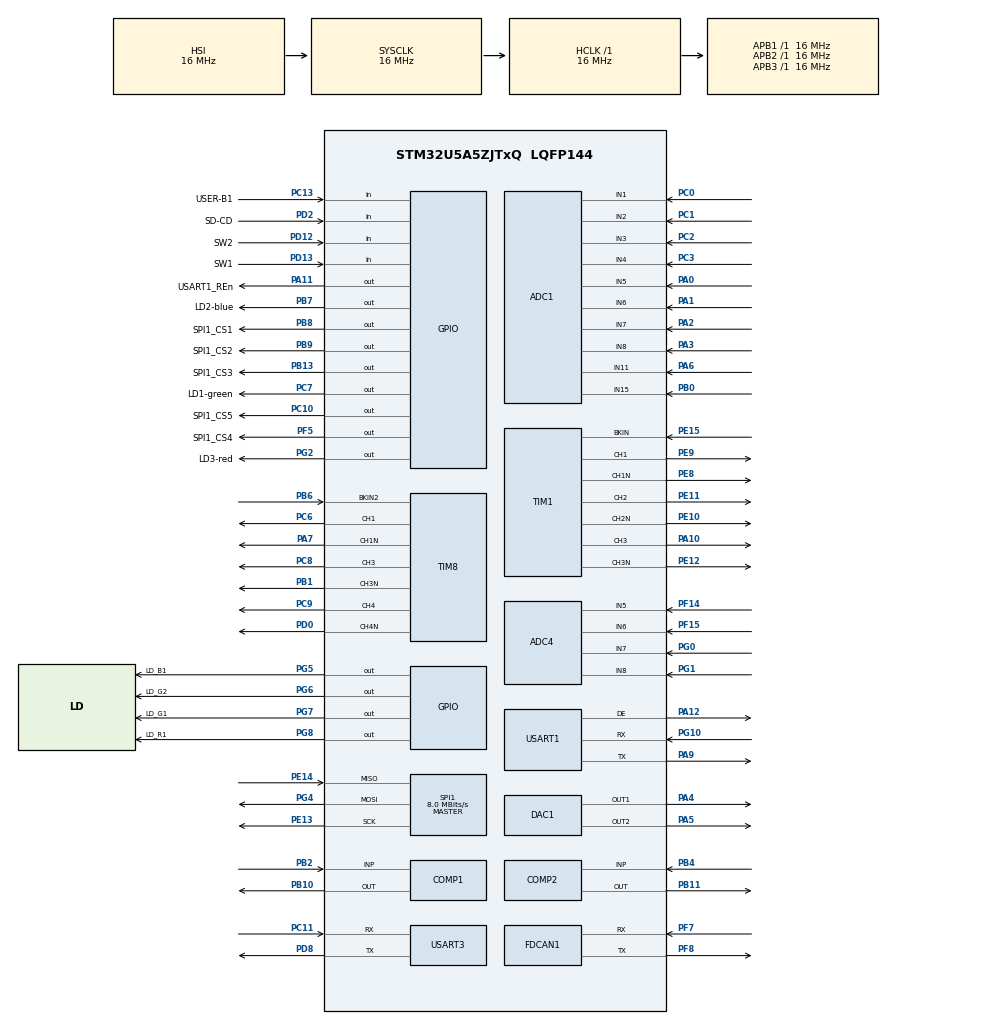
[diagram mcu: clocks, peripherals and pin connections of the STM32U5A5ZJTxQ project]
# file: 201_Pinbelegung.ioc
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ADC1.Channel-0\#ChannelRegularConversion=ADC_CHANNEL_1
ADC1.MonitoredBy-0\#ChannelRegularConversion=__NULL
ADC1.NbrOfConversionFlag=1
ADC1.OffsetNumber-0\#ChannelRegularConversion=ADC_OFFSET_NONE
ADC1.Rank-0\#ChannelRegularConversion=1
ADC1.SamplingTime-0\#ChannelRegularConversion=ADC_SAMPLETIME_5CYCLE
ADC1.master=1
ADC4.Channel-0\#ChannelRegularConversion=ADC_CHANNEL_5
ADC4.NbrOfConversionFlag=1
ADC4.OffsetNumber-0\#ChannelRegularConversion=ADC_OFFSET_NONE
ADC4.Rank-0\#ChannelRegularConversion=1
ADC4.RankArg-0\#ChannelRegularConversion=ADC4_REGULAR_RANK_1
ADC4.SamplingTime-0\#ChannelRegularConversion=ADC4_SAMPLINGTIME_COMMON_1
ADC4.SelectedChannel=ADC_CHANNEL_5|ADC_CHANNEL_6|ADC_CHANNEL_7|ADC_CHANNEL_8
CORTEX_M33_NS.AccessPermission-Cortex_Memory_Protection_Unit_Region0_Settings=MPU_REGION_PRIV_RO
CORTEX_M33_NS.AllocateAttribute0=MPU_R_ALLOCATE
CORTEX_M33_NS.AllocateAttribute1=MPU_RW_ALLOCATE
CORTEX_M33_NS.Attributes0=MPU_ATTRIBUTES_NUMBER0
CORTEX_M33_NS.Attributes1=MPU_ATTRIBUTES_NUMBER1
CORTEX_M33_NS.AttributesIndex-Cortex_Memory_Protection_Unit_Region1_Settings=MPU_ATTRIBUTES_NUMBER1
CORTEX_M33_NS.BaseAddress-Cortex_Memory_Protection_Unit_Region0_Settings=0x08000000
CORTEX_M33_NS.BaseAddress-Cortex_Memory_Protection_Unit_Region1_Settings=0x20000000
CORTEX_M33_NS.CacheableAttribute1=MPU_WRITE_BACK
CORTEX_M33_NS.Enable-Cortex_Memory_Protection_Unit_Region0_Settings=MPU_REGION_ENABLE
CORTEX_M33_NS.Enable-Cortex_Memory_Protection_Unit_Region1_Settings=MPU_REGION_ENABLE
CORTEX_M33_NS.LimitAddress-Cortex_Memory_Protection_Unit_Region0_Settings=0x083FFFFF
CORTEX_M33_NS.LimitAddress-Cortex_Memory_Protection_Unit_Region1_Settings=0x2026FFFF
CORTEX_M33_NS.MPU_Control=MPU_PRIVILEGED_DEFAULT
CORTEX_M33_NS.Memorytype0=MPU_CACHEABLE
CORTEX_M33_NS.Memorytype1=MPU_CACHEABLE
CORTEX_M33_NS.Number-Cortex_Memory_Protection_Unit_Region0_Settings=MPU_REGION_NUMBER0
CORTEX_M33_NS.Number-Cortex_Memory_Protection_Unit_Region1_Settings=MPU_REGION_NUMBER1
CORTEX_M33_NS.userName=CORTEX_M33
DAC1.DAC_Channel-DAC_OUT1_ExtAndInt=DAC_CHANNEL_1
DAC1.DAC_Channel-DAC_OUT2_ExtAndInt=DAC_CHANNEL_2
FDCAN1.CalculateBaudRateNominal=3333333
FDCAN1.CalculateTimeBitNominal=300
FDCAN1.CalculateTimeQuantumNominal=100.0
FLASH.B1_BLOCK_active=true
FLASH.B1_endPage=255
FLASH.B2_BLOCK_active=true
FLASH.B2_Bank=FLASH_BANK_2
FLASH.B2_endPage=255
FLASH.OB_Boot_Configuration_active_NS0=true
FLASH.OB_NSBOOTADD0_Address=0x08000000
GTZC.MPCBB1_Area_Privilege_Size=0x000C0000
GTZC.MPCBB1_SecConfig_array=00000000\:00000000\:00000000\:00000000\:00000000\:00000000\:00000000\:00000000\:00000000\:00000000\:00000000\:00000000\:00000000\:00000000\:00000000\:00000000\:00000000\:00000000\:00000000\:00000000\:00000000\:00000000\:00000000\:00000000\:00000000\:00000000\:00000000\:00000000\:00000000\:00000000\:00000000\:00000000\:00000000\:00000000\:00000000\:00000000\:00000000\:00000000\:00000000\:00000000\:00000000\:00000000\:00000000\:00000000\:00000000\:00000000\:00000000\:00000000
GTZC.MPCBB2_Area_Privilege_Size=0x00010000
GTZC.MPCBB2_PrivConfig_array=FFFFFFFF\:FFFFFFFF\:FFFFFFFF\:FFFFFFFF\:00000000\:00000000\:00000000\:00000000\:00000000\:00000000\:00000000\:00000000\:00000000\:00000000\:00000000\:00000000\:00000000\:00000000\:00000000\:00000000\:00000000\:00000000\:00000000\:00000000\:00000000\:00000000\:00000000\:00000000\:00000000\:00000000\:00000000\:00000000\:00000000\:00000000\:00000000\:00000000\:00000000\:00000000\:00000000\:00000000\:00000000\:00000000\:00000000\:00000000\:00000000\:00000000\:00000000\:00000000\:00000000\:00000000\:00000000\:00000000
GTZC.MPCBB2_SecConfig_array=00000000\:00000000\:00000000\:00000000\:00000000\:00000000\:00000000\:00000000\:00000000\:00000000\:00000000\:00000000\:00000000\:00000000\:00000000\:00000000\:00000000\:00000000\:00000000\:00000000\:00000000\:00000000\:00000000\:00000000\:00000000\:00000000\:00000000\:00000000\:00000000\:00000000\:00000000\:00000000\:00000000\:00000000\:00000000\:00000000\:00000000\:00000000\:00000000\:00000000\:00000000\:00000000\:00000000\:00000000\:00000000\:00000000\:00000000\:00000000\:00000000\:00000000\:00000000\:00000000
GTZC.MPCBB3_Area_Privilege_Size=0x000D0000
GTZC.MPCBB3_SecConfig_array=00000000\:00000000\:00000000\:00000000\:00000000\:00000000\:00000000\:00000000\:00000000\:00000000\:00000000\:00000000\:00000000\:00000000\:00000000\:00000000\:00000000\:00000000\:00000000\:00000000\:00000000\:00000000\:00000000\:00000000\:00000000\:00000000\:00000000\:00000000\:00000000\:00000000\:00000000\:00000000\:00000000\:00000000\:00000000\:00000000\:00000000\:00000000\:00000000\:00000000\:00000000\:00000000\:00000000\:00000000\:00000000\:00000000\:00000000\:00000000\:00000000\:00000000\:00000000\:00000000
GTZC.MPCBB4_PrivConfig_array=00000000
GTZC.MPCBB4_SecConfig_array=00000000
GTZC.MPCBB5_Area_Privilege_Size=0x000D0000
GTZC.MPCBB5_SecConfig_array=00000000\:00000000\:00000000\:00000000\:00000000\:00000000\:00000000\:00000000\:00000000\:00000000\:00000000\:00000000\:00000000\:00000000\:00000000\:00000000\:00000000\:00000000\:00000000\:00000000\:00000000\:00000000\:00000000\:00000000\:00000000\:00000000\:00000000\:00000000\:00000000\:00000000\:00000000\:00000000\:00000000\:00000000\:00000000\:00000000\:00000000\:00000000\:00000000\:00000000\:00000000\:00000000\:00000000\:00000000\:00000000\:00000000\:00000000\:00000000\:00000000\:00000000\:00000000\:00000000
Mcu.Family=STM32U5
Mcu.Name=STM32U5A5ZJTxQ
Mcu.Package=LQFP144
NVIC.PriorityGroup=NVIC_PRIORITYGROUP_4
PA0.Mode=IN5-Single-Ended
PA0.Signal=ADC1_IN5
PA1.Mode=IN6-Single-Ended
PA1.Signal=ADC1_IN6
PA10.Signal=S_TIM1_CH3
PA11.GPIO_Label=USART1_REn
PA11.Signal=GPIO_Output
PA12.Mode=Hardware Flow Control (RS485)
PA12.Signal=USART1_DE
PA13\ (JTMS/SWDIO).Mode=Trace_Asynchronous_SW
PA13\ (JTMS/SWDIO).Signal=DEBUG_JTMS-SWDIO
PA14\ (JTCK/SWCLK).Mode=Trace_Asynchronous_SW
PA14\ (JTCK/SWCLK).Signal=DEBUG_JTCK-SWCLK
PA2.Mode=IN7-Single-Ended
PA2.Signal=ADC1_IN7
PA3.Mode=IN8-Single-Ended
PA3.Signal=ADC1_IN8
PA4.Signal=COMP_DAC11_group
PA5.Signal=COMP_DAC12_group
PA6.Mode=IN11-Single-Ended
PA6.Signal=ADC1_IN11
PA7.Mode=PWM Generation1 CH1 CH1N
PA7.Signal=TIM8_CH1N
PA9.Mode=Asynchronous
PA9.Signal=USART1_TX
PB0.Mode=IN15-Single-Ended
PB0.Signal=ADC1_IN15
PB1.Mode=PWM Generation3 CH3 CH3N
PB1.Signal=TIM8_CH3N
PB10.Mode=ExternalOutput
PB10.Signal=COMP1_OUT
PB11.Mode=ExternalOutput
PB11.Signal=COMP2_OUT
PB13.GPIO_Label=SPI1_CS3
PB13.Signal=GPIO_Output
PB2.Mode=INP
PB2.Signal=COMP1_INP
PB3\ (JTDO/TRACESWO).Mode=Trace_Asynchronous_SW
PB3\ (JTDO/TRACESWO).Signal=DEBUG_JTDO-SWO
PB4\ (NJTRST).Mode=INP
PB4\ (NJTRST).Signal=COMP2_INP
PB6.Mode=Activate-Break-Input-2
PB6.Signal=TIM8_BKIN2
PB7.GPIO_Label=LD2-blue
PB7.Signal=GPIO_Output
PB8.GPIO_Label=SPI1_CS1
PB8.Signal=GPIO_Output
PB9.GPIO_Label=SPI1_CS2
PB9.Signal=GPIO_Output
PC0.Mode=IN1-Single-Ended
PC0.Signal=ADC1_IN1
PC1.Mode=IN2-Single-Ended
PC1.Signal=ADC1_IN2
PC10.GPIO_Label=SPI1_CS5
PC10.Signal=GPIO_Output
PC11.Mode=Asynchronous
PC11.Signal=USART3_RX
PC13.GPIO_Label=USER-B1
PC13.Signal=GPIO_Input
PC14-OSC32_IN\ (PC14).Mode=LSE-External-Oscillator
PC14-OSC32_IN\ (PC14).Signal=RCC_OSC32_IN
PC15-OSC32_OUT\ (PC15).Mode=LSE-External-Oscillator
PC15-OSC32_OUT\ (PC15).Signal=RCC_OSC32_OUT
PC2.Mode=IN3-Single-Ended
PC2.Signal=ADC1_IN3
PC3.Mode=IN4-Single-Ended
PC3.Signal=ADC1_IN4
PC6.Signal=S_TIM8_CH1
PC7.GPIO_Label=LD1-green
PC7.Signal=GPIO_Output
PC8.Signal=S_TIM8_CH3
PC9.Signal=S_TIM8_CH4
PD0.Mode=PWM Generation4 CH4 CH4N
PD0.Signal=TIM8_CH4N
PD12.GPIO_Label=SW2
PD12.Signal=GPIO_Input
PD13.GPIO_Label=SW1
PD13.Signal=GPIO_Input
PD2.GPIO_Label=SD-CD
PD2.Signal=GPIO_Input
PD8.Mode=Asynchronous
PD8.Signal=USART3_TX
PE10.Mode=PWM Generation2 CH2 CH2N
PE10.Signal=TIM1_CH2N
PE11.Signal=S_TIM1_CH2
PE12.Mode=PWM Generation3 CH3 CH3N
PE12.Signal=TIM1_CH3N
PE13.Mode=Full_Duplex_Master
PE13.Signal=SPI1_SCK
PE14.Mode=Full_Duplex_Master
PE14.Signal=SPI1_MISO
PE15.Mode=Activate-Break-Input
PE15.Signal=TIM1_BKIN
PE8.Mode=PWM Generation1 CH1 CH1N
PE8.Signal=TIM1_CH1N
PE9.Signal=S_TIM1_CH1
PF14.Mode=IN5
PF14.Signal=ADC4_IN5
PF15.Mode=IN6
PF15.Signal=ADC4_IN6
PF5.GPIO_Label=SPI1_CS4
PF5.Signal=GPIO_Output
PF7.Mode=FDCAN_Activate
PF7.Signal=FDCAN1_RX
PF8.Mode=FDCAN_Activate
PF8.Signal=FDCAN1_TX
PG0.Mode=IN7
PG0.Signal=ADC4_IN7
PG1.Mode=IN8
PG1.Signal=ADC4_IN8
PG10.Mode=Asynchronous
PG10.Signal=USART1_RX
PG2.GPIO_Label=LD3-red
PG2.Signal=GPIO_Output
PG4.Mode=Full_Duplex_Master
PG4.Signal=SPI1_MOSI
PG5.GPIO_Label=LD_B1
PG5.Signal=GPIO_Output
PG6.GPIO_Label=LD_G2
PG6.Signal=GPIO_Output
PG7.GPIO_Label=LD_G1
PG7.Signal=GPIO_Output
PG8.GPIO_Label=LD_R1
PG8.Signal=GPIO_Output
PWR.PowerMode=PWR_SMPS_SUPPLY
ProjectManager.HeapSize=0x2000
ProjectManager.StackSize=0x10000
ProjectManager.TargetToolchain=STM32CubeIDE
RCC.ADCFreq_Value=16000000
RCC.AHBFreq_Value=16000000
RCC.APB1Freq_Value=16000000
RCC.APB1TimFreq_Value=16000000
RCC.APB2Freq_Value=16000000
RCC.APB2TimFreq_Value=16000000
RCC.APB3Freq_Value=16000000
RCC.CortexFreq_Value=16000000
RCC.DACCLockSelectionVirtual=RCC_DAC1CLKSOURCE_LSI
RCC.EPOD_VALUE=16000000
RCC.HCLKFreq_Value=16000000
RCC.HSE_VALUE=16000000
RCC.HSI48_VALUE=48000000
RCC.HSI_VALUE=16000000
RCC.LSIDIV_VALUE=32000
RCC.MSIClockRange=RCC_MSIRANGE_0
RCC.MSI_VALUE=48000000
RCC.PLLFRACN=0
RCC.PLLN=20
RCC.PLLSourceVirtual=RCC_PLLSOURCE_HSI
RCC.SYSCLKFreq_VALUE=16000000
RCC.SYSCLKSource=RCC_SYSCLKSOURCE_HSI
RCC.USBPHYCLockSelection=RCC_USBPHYCLKSOURCE_HSE
RCC.VCOOutputFreq_Value=320000000
SH.COMP_DAC11_group.0=DAC1_OUT1,DAC_OUT1_ExtAndInt
SH.COMP_DAC12_group.0=DAC1_OUT2,DAC_OUT2_ExtAndInt
SH.S_TIM1_CH1.0=TIM1_CH1,PWM Generation1 CH1 CH1N
SH.S_TIM1_CH2.0=TIM1_CH2,PWM Generation2 CH2 CH2N
SH.S_TIM1_CH3.0=TIM1_CH3,PWM Generation3 CH3 CH3N
SH.S_TIM8_CH1.0=TIM8_CH1,PWM Generation1 CH1 CH1N
SH.S_TIM8_CH3.0=TIM8_CH3,PWM Generation3 CH3 CH3N
SH.S_TIM8_CH4.0=TIM8_CH4,PWM Generation4 CH4 CH4N
SPI1.CalculateBaudRate=8.0 MBits/s
SPI1.Direction=SPI_DIRECTION_2LINES
SPI1.Mode=SPI_MODE_MASTER
SPI1.VirtualType=VM_MASTER
STMicroelectronics.X-CUBE-ALGOBUILD.1.4.0.LibraryCcDSPOoLibraryJjDSPOoLibrary=true
TIM1.Channel-PWM\ Generation1\ CH1\ CH1N=TIM_CHANNEL_1
TIM1.Channel-PWM\ Generation2\ CH2\ CH2N=TIM_CHANNEL_2
TIM1.Channel-PWM\ Generation3\ CH3\ CH3N=TIM_CHANNEL_3
TIM1.SourceBRK2COMP1=TIM_BREAKINPUTSOURCE_DISABLE
TIM1.SourceBRKCOMP1=TIM_BREAKINPUTSOURCE_ENABLE
TIM8.AutomaticOutput=TIM_AUTOMATICOUTPUT_DISABLE
TIM8.Channel-PWM\ Generation1\ CH1\ CH1N=TIM_CHANNEL_1
TIM8.Channel-PWM\ Generation3\ CH3\ CH3N=TIM_CHANNEL_3
TIM8.Channel-PWM\ Generation4\ CH4\ CH4N=TIM_CHANNEL_4
TIM8.SourceBRK2COMP2=TIM_BREAKINPUTSOURCE_ENABLE
TIM8.SourceBRKCOMP2=TIM_BREAKINPUTSOURCE_ENABLE
USART1.VirtualMode-Asynchronous=VM_ASYNC
USART1.VirtualMode-Hardware\ Flow\ Control\ (RS485)=VM_ASYNC
USART3.VirtualMode-Asynchronous=VM_ASYNC
VP_COMP1_VS_DACOUT1.Mode=INM_DACOUT1
VP_COMP2_VS_DACOUT2.Mode=INM_DACOUT2
VP_FLASH_SIG_Activate_FlashIP.Mode=Activate_FlashIP
VP_GTZC_VS_GTZC_Enable.Mode=GTZC_Enable
VP_ICACHE_VS_ICACHE.Mode=DirectMappedCache
VP_LPBAMQUEUE_VS_QUEUE.Mode=QUEUEMODE
VP_MEMORYMAP_VS_MEMORYMAP.Mode=CurAppReg
VP_PWR_VS_DBSignals.Mode=DisableDeadBatterySignals
VP_PWR_VS_LPOM.Mode=PowerOptimisation
VP_PWR_VS_SECSignals.Mode=Security/Privilege
VP_PWR_Vdda.Mode=isolationVdda
VP_STMicroelectronics.X-CUBE-ALGOBUILD_VS_DSPOoLibraryJjLibrary_1.4.0_1.4.0.Mode=DSPOoLibraryJjLibrary
VP_TIM1_VS_ClockSourceINT.Mode=Internal
board=NUCLEO-U5A5ZJ-Q

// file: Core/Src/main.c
/* USER CODE BEGIN Header */
/**
  ******************************************************************************
  * @file           : main.c
  * @brief          : Main program body
  ******************************************************************************
  * @attention
  *
  * Mit diesem Programm können 3 Varianten von Fourier Transfromationen gerechnet werden.
  * Der Zeitvektor wird dabei mit Matlab generiert und in der Datei input.h definiert.
  * 1. Mit der CMSIS-DSP Bibliothek von STM32, die Funktion heisst arm_rfft_fast_f32().
  *	   Diese Variante ist auf 4096 Samples beschränkt (vgl. Dokumentation).
  * 2. Eine Diskrete Fourier Transformation gemäss KomFour Skript Seite 113 dft().
  *    Idealerweise bis 512 Samples, da die DFT sonst sehr lange dauert.
  * 3. Eine Fast Fourier Transformation gemäss KomFour Skript Seite 114 fft().
  *    Mit dieser Variante können auch 65536 Samples in 30 s gerechnet werden.
  *
  ******************************************************************************
  */
/* USER CODE END Header */
#include "main.h"
#include "adc.h"
#include "comp.h"
#include "dac.h"
#include "fdcan.h"
#include "flash.h"
#include "gtzc.h"
#include "icache.h"
#include "spi.h"
#include "tim.h"
#include "usart.h"
#include "gpio.h"

/* USER CODE BEGIN Includes */
// FFT
#include <stdio.h>
#include <stdlib.h>
#include <math.h>
#include "arm_math.h"
#include "complex.h"
#include "input.h"
#include "fft.h"
/* USER CODE END Includes */

/* USER CODE BEGIN PD */
// FFT Anzahl Samples
#define N 65536	// Muss 2^N sein!
// SWV
// #define ITM_PORT32(n) (*((volatile unsigned long *)(0xE0000000+4*n)))
/* USER CODE END PD */

/* USER CODE BEGIN PV */
// Globale Variablen
float x[N];
Complex c[N];
// CMSIS-DSP Bibliothek
float y[N];
float y_abs[N/2];
arm_rfft_fast_instance_f32 rfft;
/* USER CODE END PV */

void SystemClock_Config(void);
static void SystemPower_Config(void);
static void MPU_Config(void);

int main(void)
{

  /* MCU Configuration--------------------------------------------------------*/

  /* MPU Configuration--------------------------------------------------------*/
  MPU_Config();

  /* Reset of all peripherals, Initializes the Flash interface and the Systick. */
  HAL_Init();

  /* Configure the System Power */
  SystemPower_Config();

  /* Configure the system clock */
  SystemClock_Config();
  /* GTZC initialisation */
  MX_GTZC_Init();

  /* Initialize all configured peripherals */
  MX_GPIO_Init();
  MX_ICACHE_Init();
  MX_FLASH_Init();
  MX_ADC1_Init();
  MX_ADC4_Init();
  MX_COMP1_Init();
  MX_COMP2_Init();
  MX_DAC1_Init();
  MX_FDCAN1_Init();
  MX_SPI1_Init();
  MX_TIM1_Init();
  MX_TIM8_Init();
  MX_USART1_UART_Init();
  MX_USART3_UART_Init();
  /* USER CODE BEGIN 2 */
  // FFT Instanz
  arm_rfft_fast_init_f32(&rfft, N);
  // SWV Port Nummer
  // ITM_PORT32(1) = 1;
  /* USER CODE END 2 */

  /* Infinite loop */
  /* USER CODE BEGIN WHILE */
  while (1)
  {
	  // Printf
	  printf("Hello World\n");

	  // Grüne LED
	  HAL_GPIO_TogglePin(LD1_green_GPIO_Port, LD1_green_Pin);

	  // FFT
	  // Variante 1: Max 4096 Samples - vgl. Dokumentation CMSIS-DSP v 1.10.0
	  /*arm_rfft_fast_f32(&rfft, x, y, 0);
	  // y_abs muss noch mit 1/N skaliert werden für die korrekten Amplitudenwerte!
	  arm_cmplx_mag_f32(y, y_abs, N/2);*/

	  // Variante 2: DFT (vgl. KomFour S. 113)
	  /*dft(x, c, (int)N);
	  scale(c, (int)N);
	  abs_val(c, (int)N);*/

	  // Variante 3: FFT
	  make_complex(x, c, (int)N);
	  fft(c, (int)N);
	  scale(c, (int)N);
	  abs_val(c, (int)N);

	  // Delay
	  // HAL_Delay(200);

    /* USER CODE END WHILE */

  }
}

void SystemClock_Config(void)
{
  RCC_OscInitTypeDef RCC_OscInitStruct = {0};
  RCC_ClkInitTypeDef RCC_ClkInitStruct = {0};

  /** Configure the main internal regulator output voltage
  */
  if (HAL_PWREx_ControlVoltageScaling(PWR_REGULATOR_VOLTAGE_SCALE3) != HAL_OK)
  {
    Error_Handler();
  }

  /** Initializes the CPU, AHB and APB buses clocks
  */
  RCC_OscInitStruct.OscillatorType = RCC_OSCILLATORTYPE_HSI|RCC_OSCILLATORTYPE_LSI;
  RCC_OscInitStruct.HSIState = RCC_HSI_ON;
  RCC_OscInitStruct.HSICalibrationValue = RCC_HSICALIBRATION_DEFAULT;
  RCC_OscInitStruct.LSIState = RCC_LSI_ON;
  RCC_OscInitStruct.LSIDiv = RCC_LSI_DIV1;
  RCC_OscInitStruct.PLL.PLLState = RCC_PLL_ON;
  RCC_OscInitStruct.PLL.PLLSource = RCC_PLLSOURCE_HSI;
  RCC_OscInitStruct.PLL.PLLMBOOST = RCC_PLLMBOOST_DIV1;
  RCC_OscInitStruct.PLL.PLLM = 1;
  RCC_OscInitStruct.PLL.PLLN = 20;
  RCC_OscInitStruct.PLL.PLLP = 2;
  RCC_OscInitStruct.PLL.PLLQ = 2;
  RCC_OscInitStruct.PLL.PLLR = 2;
  RCC_OscInitStruct.PLL.PLLRGE = RCC_PLLVCIRANGE_1;
  RCC_OscInitStruct.PLL.PLLFRACN = 0;
  if (HAL_RCC_OscConfig(&RCC_OscInitStruct) != HAL_OK)
  {
    Error_Handler();
  }

  /** Initializes the CPU, AHB and APB buses clocks
  */
  RCC_ClkInitStruct.ClockType = RCC_CLOCKTYPE_HCLK|RCC_CLOCKTYPE_SYSCLK
                              |RCC_CLOCKTYPE_PCLK1|RCC_CLOCKTYPE_PCLK2
                              |RCC_CLOCKTYPE_PCLK3;
  RCC_ClkInitStruct.SYSCLKSource = RCC_SYSCLKSOURCE_HSI;
  RCC_ClkInitStruct.AHBCLKDivider = RCC_SYSCLK_DIV1;
  RCC_ClkInitStruct.APB1CLKDivider = RCC_HCLK_DIV1;
  RCC_ClkInitStruct.APB2CLKDivider = RCC_HCLK_DIV1;
  RCC_ClkInitStruct.APB3CLKDivider = RCC_HCLK_DIV1;

  if (HAL_RCC_ClockConfig(&RCC_ClkInitStruct, FLASH_LATENCY_0) != HAL_OK)
  {
    Error_Handler();
  }
}

/**
  * @brief Power Configuration
  * @retval None
  */
static void SystemPower_Config(void)
{
  HAL_PWREx_EnableVddIO2();

  /*
   * Disable the internal Pull-Up in Dead Battery pins of UCPD peripheral
   */
  HAL_PWREx_DisableUCPDDeadBattery();

  /*
   * Switch to SMPS regulator instead of LDO
   */
  if (HAL_PWREx_ConfigSupply(PWR_SMPS_SUPPLY) != HAL_OK)
  {
    Error_Handler();
  }
}

/* USER CODE BEGIN 4 */
// Konsolen Output via SWV
int _write(int file, char *ptr, int len)
{
  (void)file;
  int DataIdx;

  for (DataIdx = 0; DataIdx < len; DataIdx++)
  {
    ITM_SendChar(*ptr++);
  }
  return len;
}
/* USER CODE END 4 */

 /* MPU Configuration */

void MPU_Config(void)
{
  MPU_Region_InitTypeDef MPU_InitStruct = {0};
  MPU_Attributes_InitTypeDef MPU_AttributesInit = {0};

  /* Disables the MPU */
  HAL_MPU_Disable();

  /** Initializes and configures the Region 0 and the memory to be protected
  */
  MPU_InitStruct.Enable = MPU_REGION_ENABLE;
  MPU_InitStruct.Number = MPU_REGION_NUMBER0;
  MPU_InitStruct.BaseAddress = 0x08000000;
  MPU_InitStruct.LimitAddress = 0x083FFFFF;
  MPU_InitStruct.AttributesIndex = MPU_ATTRIBUTES_NUMBER0;
  MPU_InitStruct.AccessPermission = MPU_REGION_PRIV_RO;
  MPU_InitStruct.DisableExec = MPU_INSTRUCTION_ACCESS_ENABLE;
  MPU_InitStruct.IsShareable = MPU_ACCESS_NOT_SHAREABLE;

  HAL_MPU_ConfigRegion(&MPU_InitStruct);

  /** Initializes and configures the Region 1 and the memory to be protected
  */
  MPU_InitStruct.Number = MPU_REGION_NUMBER1;
  MPU_InitStruct.BaseAddress = 0x20000000;
  MPU_InitStruct.LimitAddress = 0x2026FFFF;
  MPU_InitStruct.AttributesIndex = MPU_ATTRIBUTES_NUMBER1;
  MPU_InitStruct.AccessPermission = MPU_REGION_PRIV_RW;

  HAL_MPU_ConfigRegion(&MPU_InitStruct);

  /** Initializes and configures the Attribute 0 and the memory to be protected
  */
  MPU_AttributesInit.Number = MPU_ATTRIBUTES_NUMBER0;
  MPU_AttributesInit.Attributes = INNER_OUTER(MPU_WRITE_THROUGH|MPU_TRANSIENT
                              |MPU_R_ALLOCATE);

  HAL_MPU_ConfigMemoryAttributes(&MPU_AttributesInit);

  /** Initializes and configures the Attribute 1 and the memory to be protected
  */
  MPU_AttributesInit.Number = MPU_ATTRIBUTES_NUMBER1;
  MPU_AttributesInit.Attributes = INNER_OUTER(MPU_WRITE_BACK|MPU_TRANSIENT
                              |MPU_RW_ALLOCATE);

  HAL_MPU_ConfigMemoryAttributes(&MPU_AttributesInit);
  /* Enables the MPU */
  HAL_MPU_Enable(MPU_PRIVILEGED_DEFAULT);

}

void Error_Handler(void)
{
  __disable_irq();
  while (1)
  {
  }
}
